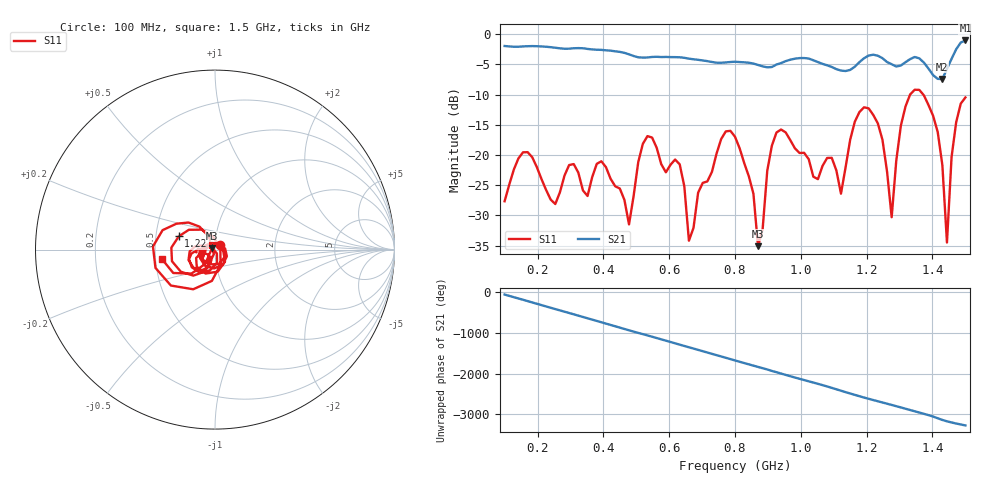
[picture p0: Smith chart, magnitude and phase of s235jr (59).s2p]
! NanoVNA-App
! Date: 2025-09-26 09:45:15
! Start: 100MHz Stop: 1,5GHz Points: 101
! S-Parameter data: F S11 S21 S12 S22
# Hz S RI R 50
!  Frequency  S11_Real  S11_Imag  S21_Real  S21_Imag  S12_Real  S12_Imag  S22_Real  S22_Imag
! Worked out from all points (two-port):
!   101 points, 100 MHz to 1.5 GHz, reference 50 ohm
!   highest |S21| = -1.04 dB at 1.5 GHz (marker M1); lowest = -7.4 dB at 1.43 GHz (marker M2)
!   |S21| within 3 dB of the highest: start of sweep to 658.6 MHz; 1.191 GHz to 1.25 GHz (58.73 MHz wide, 4.81 % of centre)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
!   lowest |S11| = -35.1 dB at 870 MHz (marker M3), VSWR 1.04, Z = 48.5 + j0.932 ohm
!   |S11| at or under -10 dB: start of sweep to 1.332 GHz; 1.372 GHz to end of sweep
!   S12 and S22 are empty: the file has one direction only
!   S11 on the Smith chart (normalised r, x): 100 MHz: 1.06, +0.06; 1.22 GHz: 0.66, +0.10; 1.5 GHz: 0.54, -0.06
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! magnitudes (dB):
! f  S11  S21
! 100 MHz  -27.6  -2.0
! 156 MHz  -19.6  -2.0
! 338 MHz  -25.9  -2.3
! 394 MHz  -21.0  -2.6
! 478 MHz  -31.5  -3.3
! 520 MHz  -18.1  -3.9
! 576 MHz  -21.5  -3.8
! 632 MHz  -21.5  -3.8
! 660 MHz  -34.2  -4.1
! 800 MHz  -17.0  -4.6
! 870 MHz  -35.1  -5.1
! 926 MHz  -16.3  -5.0
! 1.038 GHz  -23.6  -4.3
! 1.122 GHz  -26.4  -6.0
! 1.22 GHz  -13.4  -3.4
! 1.276 GHz  -30.3  -5.0
! 1.304 GHz  -15.1  -5.2
! 1.346 GHz  -9.2  -3.8
! 1.43 GHz  -21.7  -7.4
! 1.444 GHz  -34.5  -5.7
! 1.458 GHz  -20.3  -4.1
! 1.5 GHz  -10.5  -1.0
